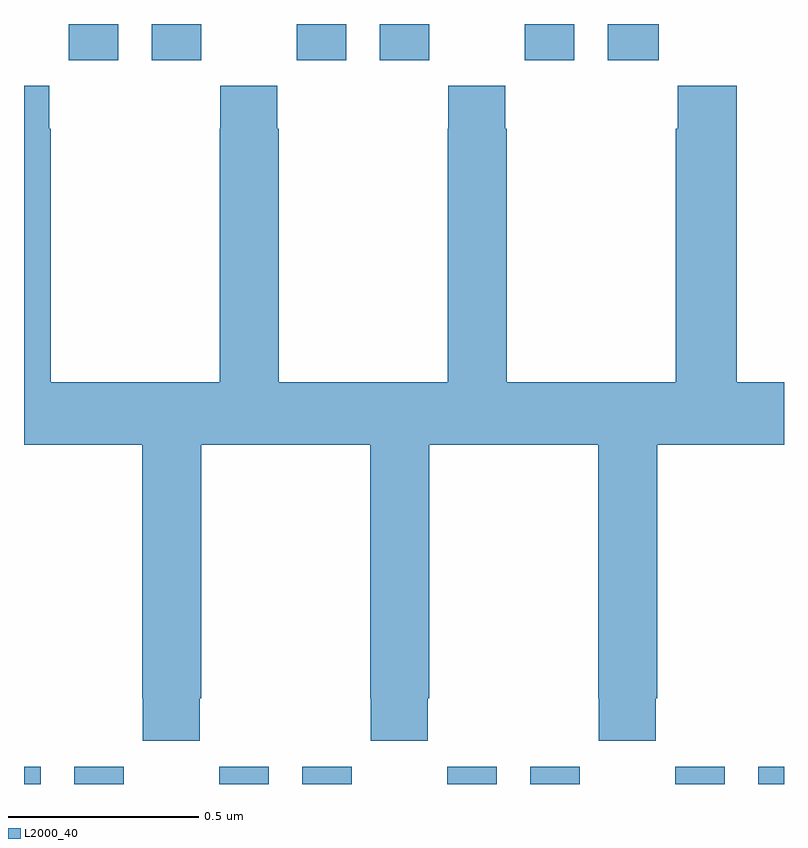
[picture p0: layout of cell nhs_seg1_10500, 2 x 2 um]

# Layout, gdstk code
import gdstk
lib = gdstk.Library(unit=1e-6, precision=1e-09)
def R(c, l, rs):  # rectangles x0, y0, x1, y1
    for r in rs: c.add(gdstk.rectangle(r[:2], r[2:], *l))
def P(c, l, *ps):  # polygons
    for p in ps: c.add(gdstk.Polygon(p, *l))
L2000_40 = (2000, 40)

nhs_seg1_10500 = lib.new_cell('nhs_seg1_10500')
R(nhs_seg1_10500, L2000_40, [(242,524.199,242.044,524.245), (242.132,524.199,242.262,524.245), (242.514,524.199,242.644,524.245), (242.732,524.199,242.862,524.245), (243.114,524.199,243.244,524.245), (243.332,524.199,243.462,524.245), (243.714,524.199,243.844,524.245), (243.932,524.199,244,524.245), (242.118,526.104,242.248,526.199), (242.336,526.104,242.466,526.199), (242.718,526.104,242.848,526.199), (242.936,526.104,243.066,526.199), (243.318,526.104,243.448,526.199), (243.536,526.104,243.67,526.199)])
P(nhs_seg1_10500, L2000_40, [(242.911,524.425),(242.913,524.425),(242.913,524.313),(243.063,524.313),(243.063,524.425),(243.066,524.425),(243.066,525.092),(243.511,525.092),(243.511,524.425),(243.513,524.425),(243.513,524.313),(243.663,524.313),(243.663,524.425),(243.666,524.425),(243.666,525.092),(244,525.092),(244,525.256),(243.875,525.256),(243.875,526.036),(243.721,526.036),(243.721,525.923),(243.715,525.923),(243.715,525.256),(243.27,525.256),(243.27,525.923),(243.267,525.923),(243.267,526.036),(243.117,526.036),(243.117,525.923),(243.115,525.923),(243.115,525.256),(242.67,525.256),(242.67,525.923),(242.667,525.923),(242.667,526.036),(242.517,526.036),(242.517,525.923),(242.515,525.923),(242.515,525.256),(242.07,525.256),(242.07,525.923),(242.067,525.923),(242.067,526.036),(242,526.036),(242,525.092),(242.311,525.092),(242.311,524.425),(242.313,524.425),(242.313,524.313),(242.463,524.313),(242.463,524.425),(242.466,524.425),(242.466,525.092),(242.911,525.092)])

lib.write_gds('nhs_seg1_10500.gds')
